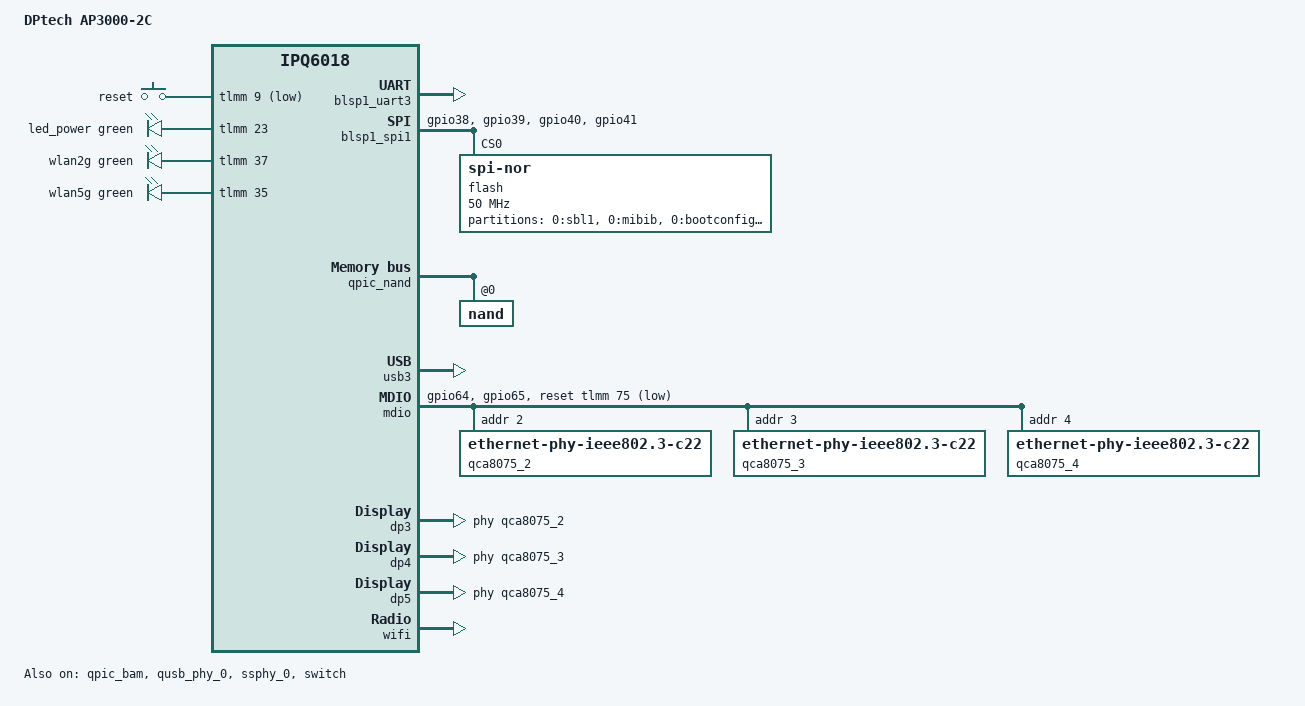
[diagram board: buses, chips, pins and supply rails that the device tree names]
// SPDX-License-Identifier: GPL-2.0-or-later OR MIT

/dts-v1/;

#include "ipq6018-512m.dtsi"
#include "ipq6018-ess.dtsi"
#include "ipq6018-mp5496.dtsi"
#include "ipq6018-nss.dtsi"

#include <dt-bindings/gpio/gpio.h>
#include <dt-bindings/input/input.h>
#include <dt-bindings/leds/common.h>

/ {
	model = "DPtech AP3000-2C";
	compatible = "dptech,ap3000-2c", "qcom,ipq6018";

	aliases {
		serial0 = &blsp1_uart3;
		led-boot = &led_power;
		led-failsafe = &led_power;
		led-running = &led_power;
		led-upgrade = &led_power;
		label-mac-device = &dp4;
	};

	chosen {
		stdout-path = "serial0:115200n8";
		bootargs-append = " root=/dev/ubiblock0_1";
	};

	keys {
		compatible = "gpio-keys";
		pinctrl-0 = <&button_pins>;
		pinctrl-names = "default";

		reset {
			label = "reset";
			linux,code = <KEY_RESTART>;
			gpios = <&tlmm 9 GPIO_ACTIVE_LOW>;
		};
	};

	leds {
		compatible = "gpio-leds";
		pinctrl-0 = <&led_pins>;
		pinctrl-names = "default";

		led_power: power {
			color = <LED_COLOR_ID_GREEN>;
			function = LED_FUNCTION_POWER;
			gpios = <&tlmm 23 GPIO_ACTIVE_HIGH>;
		};

		wlan2g {
			color = <LED_COLOR_ID_GREEN>;
			function = LED_FUNCTION_WLAN_2GHZ;
			gpios = <&tlmm 37 GPIO_ACTIVE_HIGH>;
			linux,default-trigger = "phy1radio";
		};

		wlan5g {
			color = <LED_COLOR_ID_GREEN>;
			function = LED_FUNCTION_WLAN_5GHZ;
			gpios = <&tlmm 35 GPIO_ACTIVE_HIGH>;
			linux,default-trigger = "phy0radio";
		};
	};
};

&tlmm {
	button_pins: button_pinmux {
		pins = "gpio9";
		function = "gpio";
		drive-strength = <8>;
		bias-pull-up;
	};

	led_pins: led_pinmux {
		pins = "gpio23", "gpio37", "gpio55";
		function = "gpio";
		drive-strength = <8>;
		bias-pull-up;
	};

	mdio_pins: mdio_pinmux {
		mdc {
			pins = "gpio64";
			function = "mdc";
			drive-strength = <8>;
			bias-pull-up;
		};

		mdio {
			pins = "gpio65";
			function = "mdio";
			drive-strength = <8>;
			bias-pull-up;
		};
	};

	spi_pins: spi_pinmux {
		pins = "gpio38", "gpio39", "gpio40", "gpio41";
		function = "blsp0_spi";
		drive-strength = <8>;
		bias-pull-down;
	};
};

&blsp1_uart3 {
	status = "okay";

	pinctrl-0 = <&serial_3_pins>;
	pinctrl-names = "default";
};

&blsp1_spi1 {
	status = "okay";

	pinctrl-0 = <&spi_pins>;
	pinctrl-names = "default";

	flash@0 {
		reg = <0>;
		compatible = "jedec,spi-nor";
		spi-max-frequency = <50000000>;

		partitions {
			compatible = "fixed-partitions";
			#address-cells = <1>;
			#size-cells = <1>;

			partition@0 {
				label = "0:sbl1";
				reg = <0x0 0xc0000>;
				read-only;
			};

			partition@c0000 {
				label = "0:mibib";
				reg = <0xc0000 0x10000>;
				read-only;
			};

			partition@d0000 {
				label = "0:bootconfig";
				reg = <0xd0000 0x20000>;
			};

			partition@f0000 {
				label = "0:bootconfig1";
				reg = <0xf0000 0x20000>;
			};

			partition@110000 {
				label = "0:qsee";
				reg = <0x110000 0x1a0000>;
				read-only;
			};

			partition@2b0000 {
				label = "0:qsee_1";
				reg = <0x2b0000 0x1a0000>;
				read-only;
			};

			partition@450000 {
				label = "0:devcfg";
				reg = <0x450000 0x10000>;
				read-only;
			};

			partition@460000 {
				label = "0:devcfg_1";
				reg = <0x460000 0x10000>;
				read-only;
			};

			partition@470000 {
				label = "0:rpm";
				reg = <0x470000 0x40000>;
				read-only;
			};

			partition@4b0000 {
				label = "0:rpm_1";
				reg = <0x4b0000 0x40000>;
				read-only;
			};

			partition@4f0000 {
				label = "0:cdt";
				reg = <0x4f0000 0x10000>;
				read-only;
			};

			partition@500000 {
				label = "0:cdt_1";
				reg = <0x500000 0x10000>;
				read-only;
			};

			partition@510000 {
				compatible = "u-boot,env";
				label = "0:appsblenv";
				reg = <0x510000 0x10000>;
			};

			partition@520000 {
				label = "0:appsbl";
				reg = <0x520000 0xa0000>;
				read-only;
			};

			partition@5c0000 {
				label = "0:appsbl_1";
				reg = <0x5c0000 0xa0000>;
				read-only;
			};

			partition@660000 {
				label = "0:art";
				reg = <0x660000 0x40000>;
				read-only;

				nvmem-layout {
					compatible = "fixed-layout";
					#address-cells = <1>;
					#size-cells = <1>;

					macaddr_art_0: macaddr@0 {
						reg = <0x0 0x6>;
					};

					macaddr_art_6: macaddr@6 {
						reg = <0x6 0x6>;
					};
				};
			};
		};
	};
};

&qpic_bam {
	status = "okay";
};

&qpic_nand {
	status = "okay";

	compatible = "qcom,ipq6018-nand", "qcom,ebi2-nandc-bam-v1.5.0";

	nand@0 {
		reg = <0>;
		nand-bus-width = <8>;
	};
};

&qusb_phy_0 {
	status = "okay";
};

&ssphy_0 {
	status = "okay";
};

&usb3 {
	status = "okay";
};

&mdio {
	status = "okay";

	pinctrl-0 = <&mdio_pins>;
	pinctrl-names = "default";
	reset-gpios = <&tlmm 75 GPIO_ACTIVE_LOW>;

	qca8075_2: ethernet-phy@2 {
		compatible = "ethernet-phy-ieee802.3-c22";
		reg = <2>;
	};

	qca8075_3: ethernet-phy@3 {
		compatible = "ethernet-phy-ieee802.3-c22";
		reg = <3>;
	};

	qca8075_4: ethernet-phy@4 {
		compatible = "ethernet-phy-ieee802.3-c22";
		reg = <4>;
	};
};

&switch {
	status = "okay";

	switch_cpu_bmp = <0x1>;
	switch_lan_bmp = <0x1e>;
	switch_wan_bmp = <0x20>;
	switch_inner_bmp = <0xc0>;
	switch_mac_mode = <0x0>;
	switch_mac_mode1 = <0xff>;
	switch_mac_mode2 = <0xff>;
	bm_tick_mode = <0x00>;
	tm_tick_mode = <0x00>;

	qcom,port_phyinfo {
		port@2 {
			port_id = <3>;
			phy_address = <2>;
		};
		port@3 {
			port_id = <4>;
			phy_address = <3>;
		};
		port@4 {
			port_id = <5>;
			phy_address = <4>;
		};
	};
};

&edma {
	status = "okay";
};

&dp3 {
	status = "okay";

	phy-handle = <&qca8075_2>;
	label = "wan";
	nvmem-cells = <&macaddr_art_0>;
	nvmem-cell-names = "mac-address";
};

&dp4 {
	status = "okay";

	phy-handle = <&qca8075_3>;
	label = "lan1";
	nvmem-cells = <&macaddr_art_6>;
	nvmem-cell-names = "mac-address";
};

&dp5 {
	status = "okay";

	phy-handle = <&qca8075_4>;
	label = "lan2";
	nvmem-cells = <&macaddr_art_6>;
	nvmem-cell-names = "mac-address";
};

&wifi {
	status = "okay";

	qcom,ath11k-calibration-variant = "DPtech-AP3000-2C";
	qcom,ath11k-fw-memory-mode = <1>;
};
